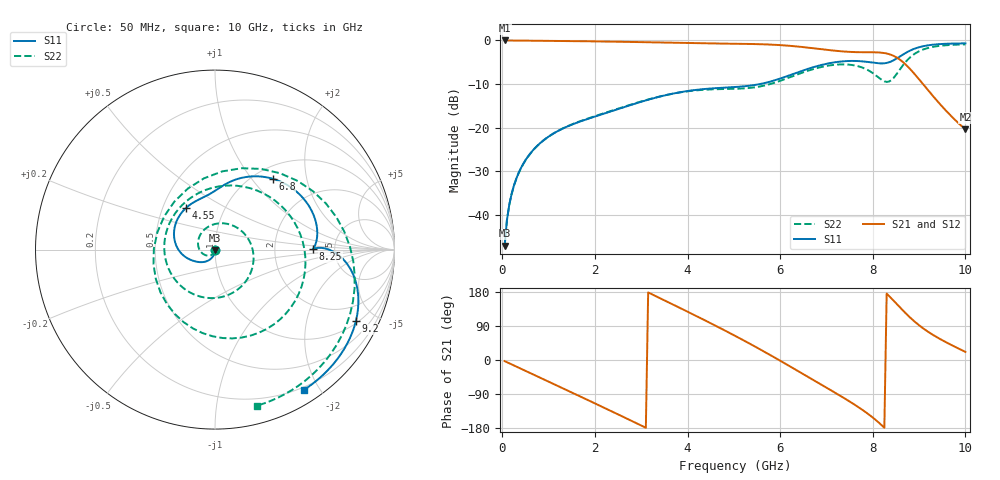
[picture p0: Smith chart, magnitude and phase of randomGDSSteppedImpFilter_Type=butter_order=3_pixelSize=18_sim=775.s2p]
! freq	dB(S11)	phase(S11)	dB(S12)	phase(S12)
!  dB(S21)	phase(S21)	dB(S22)	phase(S22)
!S-par simulation data
#  GHz  S  DB  R 50
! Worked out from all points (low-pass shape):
!   200 points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, 50 MHz to 10 GHz, reference 50 ohm
!   highest |S21| = 0.00 dB at 50 MHz (marker M1); lowest = -20.4 dB at 10 GHz (marker M2)
!   |S21| within 3 dB of the highest: start of sweep to 8.305 GHz
!   lowest |S11| = -47.0 dB at 50 MHz (marker M3), VSWR 1.01, Z = 50 - j0.446 ohm
!   |S11| at or under -10 dB: start of sweep to 5.556 GHz
!   |S22| runs from -47.1 to -0.9 dB; largest |S21 - S12| = 0
!   S11 on the Smith chart (normalised r, x): 50 MHz: 1.00, -0.01; 4.55 GHz: 0.66, +0.33; 6.8 GHz: 1.20, +1.28; 8.25 GHz: 3.42, +0.04; 9.2 GHz: 1.10, -3.88; 10 GHz: 0.17, -1.81
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0.05  -47.00 -86.2  -0.00 -2.9  -0.00 -2.9  -47.10 -88.1
0.2  -35.17 -96.1  -0.02 -11.5  -0.02 -11.5  -35.23 -104.6
0.5  -27.42 -108.1  -0.05 -28.6  -0.05 -28.6  -27.48 -129.4
1.15  -21.03 -130.2  -0.11 -65.7  -0.11 -65.7  -21.01 176.7
1.75  -18.30 -146.2  -0.18 -100.1  -0.18 -100.1  -18.23 123.9
2.65  -15.20 -167.5  -0.32 -152.3  -0.32 -152.3  -15.11 41.5
3.4  -12.86 168.8  -0.48 163.4  -0.48 163.4  -12.83 -22.5
4  -11.58 145.8  -0.61 127.5  -0.61 127.5  -11.65 -70.7
4.55  -10.96 124.4  -0.70 93.9  -0.70 93.9  -11.19 -116.2
5.05  -10.65 107.2  -0.76 62.3  -0.76 62.3  -11.06 -162.5
5.9  -9.07 84.5  -1.01 5.2  -1.01 5.2  -9.61 103.8
6.7  -6.17 55.3  -1.77 -51.6  -1.77 -51.6  -6.61 19.5
6.8  -5.87 50.9  -1.89 -58.7  -1.89 -58.7  -6.32 9.9
7.25  -4.90 30.2  -2.42 -91.0  -2.42 -91.0  -5.52 -32.5
7.7  -4.73 11.0  -2.69 -125.2  -2.69 -125.2  -5.95 -79.0
8  -5.09 2.2  -2.71 -151.9  -2.71 -151.9  -7.48 -122.1
8.25  -5.23 0.4  -2.89 -178.7  -2.89 -178.7  -9.36 178.9
8.35  -5.00 0.8  -3.13 169.2  -3.13 169.2  -9.42 146.8
8.7  -2.92 -4.1  -5.41 124.6  -5.41 124.6  -5.04 49.4
8.95  -1.71 -15.2  -8.27 96.6  -8.27 96.6  -2.76 7.9
9.2  -1.11 -26.9  -11.46 74.1  -11.46 74.1  -1.71 -20.7
10  -0.67 -57.4  -20.36 21.4  -20.36 21.4  -0.91 -74.8
